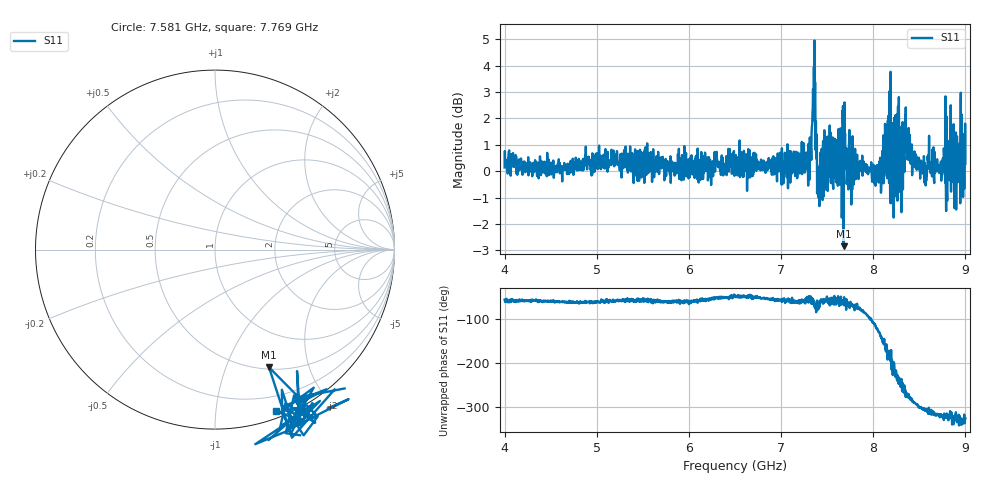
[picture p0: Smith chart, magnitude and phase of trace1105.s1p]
! Created with skrf 1.8.0 (http://scikit-rf.org).
# Hz S RI R 50.0
!freq ReS11 ImS11
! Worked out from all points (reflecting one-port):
!   1601 points, 4 GHz to 9 GHz, reference 50 ohm
!   lowest |S11| = -2.8 dB at 7.678 GHz (marker M1), VSWR 6.17, Z = 26.1 - j71.4 ohm
!   phase of S11 starts at -55 deg and turns -272 deg over the sweep
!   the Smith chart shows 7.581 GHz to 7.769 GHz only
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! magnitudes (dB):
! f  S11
! 4 GHz  0.1
! 4.625 GHz  -0.4
! 5.25 GHz  0.0
! 5.875 GHz  0.2
! 6.5 GHz  0.6
! 7.125 GHz  0.5
! 7.303 GHz  -0.1
! 7.356 GHz  3.9
! 7.372 GHz  2.5
! 7.4 GHz  -0.2
! 7.416 GHz  -1.3
! 7.512 GHz  1.1
! 7.591 GHz  0.8
! 7.678 GHz  -2.8
! 7.75 GHz  -0.1
! 8.034 GHz  0.2
! 8.153 GHz  -0.3
! 8.209 GHz  1.8
! 8.262 GHz  -1.1
! 8.312 GHz  1.1
! 8.338 GHz  0.0
! 8.375 GHz  0.8
! 8.556 GHz  -0.4
! 8.725 GHz  0.2
! 8.834 GHz  1.0
! 8.919 GHz  -0.4
! 8.972 GHz  0.6
! 9 GHz  0.3
